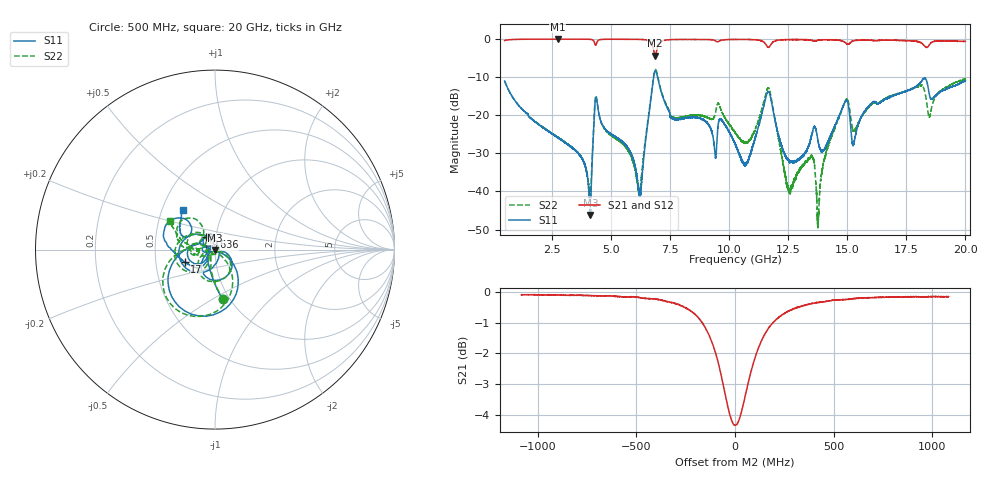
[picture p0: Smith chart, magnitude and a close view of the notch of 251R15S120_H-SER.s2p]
!{251R15S120}
!Johanson Technology Inc.
!www.johansontechnology.com
!Test Board Conditions:
!Substrate Type  RO4350B
!Substrate Thickness  20 mil
!Substrate Dk  3.66
!TL Type: GCPW
!TL Trace Width  34 mil
!TL Gap  10 mil
!Electrode orientation  Horizontal
!DUT TOPOLOGY	SERIES
!Mounting Pad LxW  26x52 mil
! Created Thu Mar 12 16:47:38 2020
# mhz S ma R 50
! 2 Port Network Data from SP1.SP block
! freq  magS11  angS11  magS21  angS21  magS12  angS12  magS22  angS22
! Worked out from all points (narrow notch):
!   19501 points, 500 MHz to 20 GHz, reference 50 ohm
!   highest |S21| = -0.04 dB at 2.757 GHz (marker M1); lowest = -4.4 dB at 6.87 GHz (marker M2)
!   notch at M2: 4.1 dB deep, 181 MHz wide at half that depth
!   lowest |S11| = -46.2 dB at 4.127 GHz (marker M3), VSWR 1.01, Z = 50.2 - j0.467 ohm
!   |S11| at or under -10 dB: start of sweep to 6.807 GHz; 6.975 GHz to end of sweep
!   |S22| runs from -49.5 to -8.0 dB; largest |S21 - S12| = 0.021
!   S11 on the Smith chart (normalised r, x): 500 MHz: 0.93, -0.56; 9.636 GHz: 0.89, +0.13; 17 GHz: 0.71, -0.10; 20 GHz: 0.64, +0.30
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500  0.2802 -80.9  0.9547 8.7  0.9559 8.6  0.2798 -80.7
2757  0.05052 -141.9  0.9953 -39.0  0.9938 -39.0  0.05104 -117.4
3750  0.02795 -151.0  0.9929 -55.5  0.9921 -55.5  0.02807 -137.1
4127  0.004925 -71.0  0.9863 -63.0  0.9864 -63.0  0.008693 -70.8
4394  0.1636 -105.2  0.8818 -59.7  0.8815 -59.7  0.1676 -117.3
6205  0.009225 -111.3  0.9858 -95.3  0.9864 -95.4  0.009478 -110.5
6870  0.3806 -103.8  0.6058 -103.2  0.6062 -103.2  0.396 -112.5
7000  0.2921 -152.2  0.8275 -91.4  0.828 -91.3  0.3017 -158.0
7611  0.09047 150.0  0.9799 -109.9  0.9806 -109.9  0.09359 179.6
9400  0.03208 105.2  0.9527 -142.2  0.9526 -142.2  0.09955 -165.3
9636  0.08854 125.9  0.9559 -141.8  0.9552 -141.9  0.1227 164.6
10250  0.04284 79.2  0.984 -153.5  0.9834 -153.5  0.05882 168.7
10752  0.02405 -7.9  0.9841 -162.5  0.984 -162.5  0.0437 -151.6
11660  0.2028 -168.8  0.7738 -175.5  0.7767 -175.5  0.2268 -170.1
12519  0.02566 138.8  0.9812 173.3  0.9796 173.2  0.01082 43.4
13500  0.05565 -162.3  0.9616 155.1  0.9593 155.2  0.02888 -121.2
13774  0.04407 160.3  0.9645 153.1  0.9607 153.0  0.004035 -111.1
14914  0.1507 -154.9  0.898 130.1  0.8961 130.1  0.1519 173.2
15267  0.04167 -155.2  0.9428 131.3  0.9482 131.4  0.0619 149.3
16750  0.1706 -151.3  0.9656 103.4  0.9581 103.2  0.1743 175.6
17005  0.182 -157.6  0.9606 98.7  0.9553 98.7  0.1864 173.9
20000  0.2828 129.2  0.9286 48.6  0.9253 48.8  0.2993 147.8
